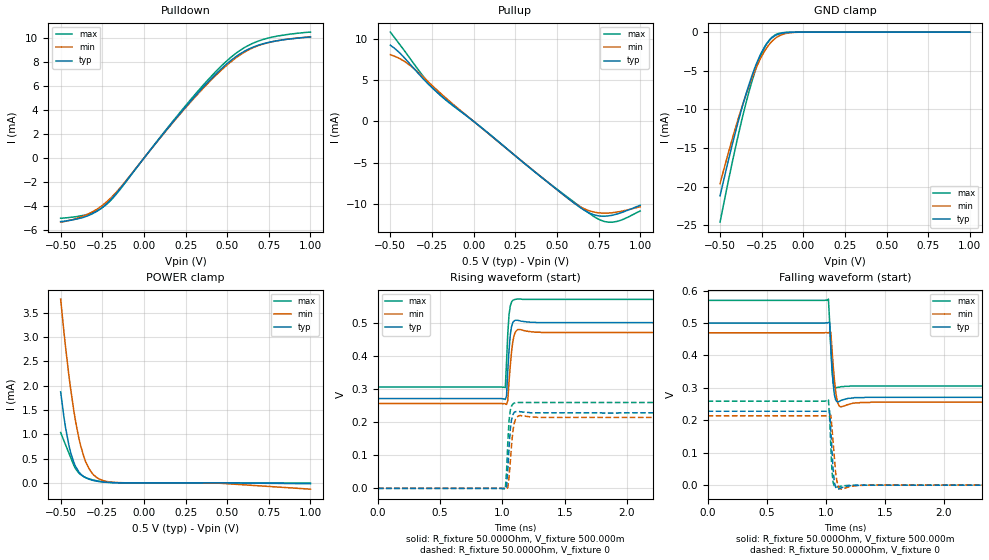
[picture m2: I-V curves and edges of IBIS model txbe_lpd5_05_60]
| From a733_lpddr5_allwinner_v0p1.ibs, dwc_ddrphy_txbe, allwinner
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[Model] txbe_lpd5_05_60
Model_type   I/O
Polarity   Non-Inverting
Enable   Active-High
C_comp   1.521pF   1.516pF   1.523pF
C_comp_pullup   283.980fF   278.357fF   289.111fF
C_comp_pulldown   1.177pF   1.173pF   1.178pF
Vinh = 310.000mV
Vinl = 190.000mV
Vmeas = 250.000mV
Vref = 250.000mV
Rref = 50Ohms
Cref = 0pF
[Model Spec]
Vinh   310.000mV   295.000mV   345.000mV
Vinl   190.000mV   175.000mV   225.000mV
Vmeas   250.000mV   235.000mV   285.000mV
Vref   250.000mV   235.000mV   285.000mV
D_overshoot_ampl_h 0.1 NA   NA
D_overshoot_ampl_l 0.1 NA   NA
D_overshoot_area_l 300.000m NA   NA
D_overshoot_area_h 300.000m NA   NA
[Receiver Thresholds]
Vth = 125.000mV
Vth_min = 118.000mV
Vth_max = 143.000mV
Vinh_ac = 60.000mV
Vinh_dc = 60.000mV
Vinl_ac = -60.000mV
Vinl_dc = -60.000mV
Tslew_ac = 5.000ns
Threshold_sensitivity = 0.5
Reference_supply Pullup_ref
[Temperature Range]   25.000   125.000   -40.000
[Voltage Range]   500.000mV   470.000mV   570.000mV
[GND Clamp Reference]   0.00V   0.00V   0.00V
[C Comp Corner]
| variable   typ   min   max
C_comp   1.521pF   1.516pF   1.523pF
C_comp_pullup   283.980fF   278.357fF   289.111fF
C_comp_pulldown   1.177pF   1.173pF   1.178pF
[Pulldown Reference]   0.00V   0.00V   0.00V
[POWER Clamp Reference]   500.000mV   470.000mV   570.000mV
[Pullup Reference]   500.000mV   470.000mV   570.000mV
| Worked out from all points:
|   slope of the pulldown table from 0 to 0.075 V, typ, clamps not added: 57 ohm
|   slope of the pullup table from 0 to 0.075 V, typ, clamps not added: 61.1 ohm
|   GND clamp passes 1 mA (typ) near -0.20 V on its own axis
|   POWER clamp passes 1 mA (typ) near -0.46 V on its own axis
|   rising waveform, R_fixture 50.000Ohm, V_fixture 500.000m: 20-80 % time 23.2ps typ, 29.2ps min, 21.8ps max; typ from 0.271 V to 0.5 V
|   rising waveform, R_fixture 50.000Ohm, V_fixture 0: 20-80 % time 23.7ps typ, 28.5ps min, 21ps max; typ from 0 V to 0.228 V
|   falling waveform, R_fixture 50.000Ohm, V_fixture 500.000m: 20-80 % time 23.3ps typ, 29.8ps min, 20.9ps max; typ from 0.5 V to 0.271 V
|   falling waveform, R_fixture 50.000Ohm, V_fixture 0: 20-80 % time 22.4ps typ, 28.5ps min, 18.8ps max; typ from 0.228 V to 0 V
[GND Clamp]
-500mV    -21.19mA   -19.61mA   -24.6mA
-450mV    -16.59mA   -15.61mA   -19.24mA
-400mV    -12.31mA   -11.86mA   -14.21mA
-360mV    -9.162mA   -9.095mA   -10.52mA
-330mV    -7.024mA   -7.2mA     -8.001mA
-290mV    -4.538mA   -4.96mA    -5.07mA
-260mV    -3.008mA   -3.535mA   -3.266mA
-230mV    -1.811mA   -2.361mA   -1.867mA
-190mV    -763.4uA   -1.219mA   -686.8uA
-130mV    -137.4uA   -333.9uA   -84.17uA
-50mV     -6.966uA   -28.44uA   -2.488uA
1V        1.073uA    8.225uA    320nA
[Power Clamp]
-500mV    1.872mA    3.782mA    1.035mA
-480mV    1.347mA    3.098mA    864.4uA
-450mV    765.9uA    2.197mA    609.1uA
-420mV    411.7uA    1.464mA    353.8uA
-390mV    221.9uA    911uA      199.1uA
-350mV    105.4uA    437.4uA    109.2uA
-310mV    53.9uA     193.6uA    63.6uA
-280mV    32.32uA    102.1uA    40.75uA
-240mV    14.94uA    42.5uA     19.78uA
-160mV    1.814uA    6.334uA    2.095uA
440mV     -336.4nA   -5.746uA   -49.23nA
1V        -17.55uA   -129.9uA   -3.392uA
[Pulldown]
-500mV    -5.27mA    -5.32mA    -4.99mA
-340mV    -4.805mA   -4.67mA    -4.674mA
-280mV    -4.394mA   -4.222mA   -4.357mA
-220mV    -3.743mA   -3.583mA   -3.783mA
-130mV    -2.318mA   -2.251mA   -2.365mA
110mV     1.921mA    1.889mA    1.962mA
280mV     4.736mA    4.66mA     4.857mA
430mV     6.971mA    6.86mA     7.178mA
540mV     8.315mA    8.208mA    8.584mA
630mV     9.078mA    9.013mA    9.392mA
720mV     9.526mA    9.504mA    9.884mA
1V        10.08mA    10.09mA    10.48mA
[Pullup]
-500mV    9.227mA    8.08mA     10.82mA
-450mV    8.413mA    7.666mA    9.486mA
-380mV    6.898mA    6.756mA    7.573mA
-280mV    4.68mA     4.938mA    4.909mA
-190mV    3.004mA    3.248mA    2.989mA
520mV     -8.587mA   -8.601mA   -8.521mA
610mV     -10mA      -9.972mA   -9.895mA
660mV     -10.72mA   -10.56mA   -10.65mA
730mV     -11.37mA   -11.03mA   -11.64mA
810mV     -11.45mA   -11.11mA   -12.22mA
890mV     -11.04mA   -10.89mA   -11.94mA
1V        -10.18mA   -10.35mA   -10.87mA
[Ramp]
R_load=50.000Ohm
dV/dt_r   137.088mV/24.000ps  128.310mV/29.500ps  156.898mV/21.500ps
dV/dt_f   137.087mV/23.500ps  128.310mV/30.000ps  156.897mV/20.000ps
[Rising waveform]
R_fixture=50.000Ohm
V_fixture=500.000m
V_fixture_min=470.000m
V_fixture_max=570.000m
0s        271mV      256mV      306mV
1.023ns   268mV      255mV      304mV
1.033ns   279mV      253mV      382mV
1.043ns   356mV      265mV      467mV
1.053ns   417mV      323mV      524mV
1.063ns   463mV      370mV      550mV
1.083ns   500mV      442mV      567mV
1.093ns   505mV      461mV      569mV
1.113ns   507mV      476mV      571mV
10ns      500mV      470mV      570mV
[Rising waveform]
R_fixture=50.000Ohm
V_fixture=0
0s        39.39uV    299.9uV    7.741uV
1.023ns   -2.308mV   -490.8uV   -2.361mV
1.033ns   3.385mV    -2.11mV    51.13mV
1.043ns   57.74mV    2.854mV    138mV
1.053ns   121mV      33.7mV     204mV
1.063ns   178mV      78.82mV    235mV
1.083ns   221mV      170mV      254mV
1.093ns   229mV      194mV      257mV
1.113ns   232mV      214mV      259mV
10ns      228mV      214mV      259mV
[Falling waveform]
R_fixture=50.000Ohm
V_fixture=500.000m
V_fixture_min=470.000m
V_fixture_max=570.000m
0s        500mV      470mV      570mV
1.023ns   502mV      470mV      574mV
1.033ns   502mV      472mV      505mV
1.043ns   425mV      472mV      428mV
1.053ns   370mV      418mV      352mV
1.063ns   314mV      369mV      317mV
1.083ns   264mV      292mV      301mV
1.103ns   257mV      253mV      302mV
1.123ns   260mV      242mV      303mV
10ns      271mV      256mV      306mV
[Falling waveform]
R_fixture=50.000Ohm
V_fixture=0
0s        228mV      214mV      259mV
1.023ns   229mV      214mV      263mV
1.033ns   230mV      216mV      208mV
1.043ns   168mV      216mV      120mV
1.053ns   105mV      176mV      43.16mV
1.063ns   45.78mV    130mV      7.87mV
1.083ns   -5.308mV   41.13mV    -5.855mV
1.103ns   -12.3mV    76.32uV    -5.236mV
1.133ns   -8.012mV   -12.32mV   -2.849mV
10ns      43.46uV    300.6uV    9.637uV
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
